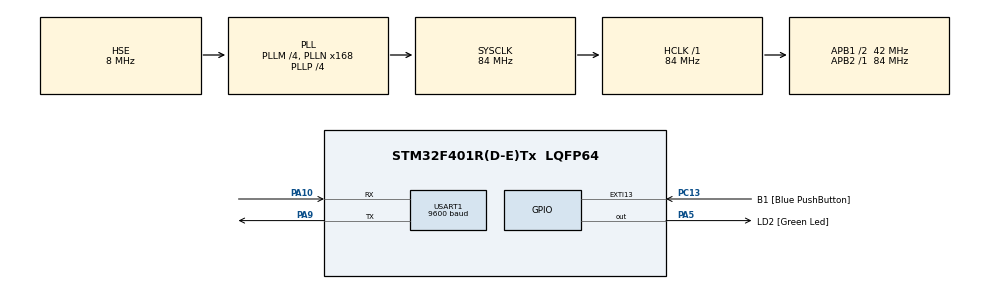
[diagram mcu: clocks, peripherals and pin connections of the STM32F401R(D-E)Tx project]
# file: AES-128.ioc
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Mcu.Family=STM32F4
Mcu.Name=STM32F401R(D-E)Tx
Mcu.Package=LQFP64
NVIC.EXTI15_10_IRQn=true\:0\:0\:false\:false\:true\:true\:true
NVIC.PriorityGroup=NVIC_PRIORITYGROUP_0
NVIC.USART1_IRQn=true\:0\:0\:false\:false\:true\:true\:true
PA10.Mode=Asynchronous
PA10.Signal=USART1_RX
PA13.GPIO_Label=TMS
PA13.Mode=Serial_Wire
PA13.Signal=SYS_JTMS-SWDIO
PA14.GPIO_Label=TCK
PA14.Mode=Serial_Wire
PA14.Signal=SYS_JTCK-SWCLK
PA2.GPIO_Label=USART_TX
PA2.GPIO_Mode=GPIO_MODE_AF_PP
PA2.GPIO_PuPd=GPIO_NOPULL
PA2.GPIO_Speed=GPIO_SPEED_FREQ_LOW
PA2.Signal=USART2_TX
PA3.GPIO_Label=USART_RX
PA3.GPIO_Mode=GPIO_MODE_AF_PP
PA3.GPIO_PuPd=GPIO_NOPULL
PA3.GPIO_Speed=GPIO_SPEED_FREQ_LOW
PA3.Signal=USART2_RX
PA5.GPIO_Label=LD2 [Green Led]
PA5.GPIO_Mode=GPIO_MODE_OUTPUT_PP
PA5.GPIO_PuPd=GPIO_NOPULL
PA5.GPIO_Speed=GPIO_SPEED_FREQ_LOW
PA5.Signal=GPIO_Output
PA9.Mode=Asynchronous
PA9.Signal=USART1_TX
PB3.GPIO_Label=SWO
PB3.Signal=SYS_JTDO-SWO
PC13-ANTI_TAMP.GPIO_Label=B1 [Blue PushButton]
PC13-ANTI_TAMP.GPIO_ModeDefaultEXTI=GPIO_MODE_IT_FALLING
PC13-ANTI_TAMP.GPIO_PuPd=GPIO_PULLUP
PC13-ANTI_TAMP.Signal=GPXTI13
PC14-OSC32_IN.Mode=LSE-External-Oscillator
PC14-OSC32_IN.Signal=RCC_OSC32_IN
PC15-OSC32_OUT.Mode=LSE-External-Oscillator
PC15-OSC32_OUT.Signal=RCC_OSC32_OUT
PH0\ -\ OSC_IN.Mode=HSE-External-Clock-Source
PH0\ -\ OSC_IN.Signal=RCC_OSC_IN
PH1\ -\ OSC_OUT.Mode=HSE-External-Clock-Source
PH1\ -\ OSC_OUT.Signal=RCC_OSC_OUT
ProjectManager.HeapSize=0x200
ProjectManager.StackSize=0x400
ProjectManager.TargetToolchain=EWARM V8
RCC.48MHZClocksFreq_Value=48000000
RCC.AHBFreq_Value=84000000
RCC.APB1CLKDivider=RCC_HCLK_DIV2
RCC.APB1Freq_Value=42000000
RCC.APB1TimFreq_Value=84000000
RCC.APB2Freq_Value=84000000
RCC.APB2TimFreq_Value=84000000
RCC.CortexFreq_Value=84000000
RCC.HCLKFreq_Value=84000000
RCC.HSE_VALUE=8000000
RCC.HSI_VALUE=16000000
RCC.PLLM=4
RCC.PLLN=168
RCC.PLLP=RCC_PLLP_DIV4
RCC.PLLQ=7
RCC.PLLSourceVirtual=RCC_PLLSOURCE_HSE
RCC.RCC_RTC_Clock_Source=RCC_RTCCLKSOURCE_LSI
RCC.SYSCLKFreq_VALUE=84000000
RCC.SYSCLKSource=RCC_SYSCLKSOURCE_PLLCLK
RCC.VCOOutputFreq_Value=336000000
USART1.BaudRate=9600
USART1.VirtualMode=VM_ASYNC
board=NUCLEO-F401RE

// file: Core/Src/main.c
/* USER CODE BEGIN Header */
/**
  ******************************************************************************
  * @file           : main.c
  * @brief          : Main program body
  ******************************************************************************
  * @attention
  *
  * <h2><center>&copy; Copyright (c) 2022 STMicroelectronics.
  * All rights reserved.</center></h2>
  *
  * This software component is licensed by ST under BSD 3-Clause license,
  * the "License"; You may not use this file except in compliance with the
  * License. You may obtain a copy of the License at:
  *                        opensource.org/licenses/BSD-3-Clause
  *
  ******************************************************************************
  */
/* USER CODE END Header */
#include "main.h"

/* USER CODE BEGIN Includes */
#include "AES.h"
/* USER CODE END Includes */

/* USER CODE BEGIN PD */
#define    DWT_CYCCNT    *(volatile uint32_t*)0xE0001004
#define    DWT_CONTROL   *(volatile uint32_t*)0xE0001000
#define    SCB_DEMCR     *(volatile uint32_t*)0xE000EDFC
/* USER CODE END PD */

UART_HandleTypeDef huart1;

/* USER CODE BEGIN PV */
uint32_t time_act = 0;
const uint8_t key[16] = {"decrypt"};
uint8_t sleep = 0;
uint8_t decrypt_test[] = {0x4a, 0x0a, 0x2b, 0xc1, 0xf6, 0x2d, 0x8c, 0x23, 0x32, 0xff, 0x11, 0xf0, 0xa7, 0x2b, 0x51, 0xce,
                          0xcc, 0x89, 0x7d, 0x82, 0x12, 0x02, 0xfc, 0x0c, 0x5c, 0xb9, 0x55, 0xd2, 0x97, 0x9b, 0xe9, 0xf2,
                          0xc1, 0xe9, 0x53, 0xf3, 0x23, 0x37, 0xc4, 0x51, 0xe1, 0x8a, 0xbe, 0xc0, 0xf5, 0x84, 0xef, 0x59};
uint16_t size_omass = sizeof(decrypt_test);
uint8_t omass[sizeof(decrypt_test)] = {0};
/* USER CODE END PV */

void SystemClock_Config(void);
static void MX_GPIO_Init(void);
static void MX_USART1_UART_Init(void);
/* USER CODE BEGIN PFP */

void time_transmit()
{
  uint8_t msg1[] = "\r\nDecrypted message: \r\n";
  uint8_t msg2[] = "\r\nExecution time: \r\n";
  uint8_t time_tr[9];
  time_tr[0] = (time_act/100000000)+0x30;
  time_tr[1] = (time_act/10000000%10)+0x30;
  time_tr[2] = (time_act/1000000%10)+0x30;
  time_tr[3] = (time_act/100000%10)+0x30;
  time_tr[4] = (time_act/10000%10)+0x30;
  time_tr[5] = (time_act/1000%10)+0x30;
  time_tr[6] = (time_act/100%10)+0x30;
  time_tr[7] = (time_act/10%10)+0x30;
  time_tr[8] = (time_act%10)+0x30;
  HAL_UART_Transmit(&huart1, msg1, sizeof(msg1)-1, 500);
  HAL_UART_Transmit(&huart1, omass, size_omass, 500);
  HAL_UART_Transmit(&huart1, msg2, sizeof(msg2)-1, 500);
  HAL_UART_Transmit(&huart1, time_tr, sizeof(time_tr), 500);
}
void decrypt(const uint8_t* block, const uint8_t* keyl, uint8_t* outmass)
{
  uint8_t mass_in[16] = {0};
  uint8_t mass_out[16] = {0};
  uint8_t *len = outmass;
  uint8_t iter = size_omass/16;
  uint8_t i = 0;
   for (uint8_t j = 0; j < iter; j++)
   {
    for (; i < 16*(j+1); i++)
    {
      mass_in[16-(((16*(j+1))-i))] = block[i];
    }
    aesDecrypt(keyl, 16, mass_in, mass_out, 16);
    for (uint8_t y = 0; y < 16; y++)
    {
      *len++ = mass_out[y];
      mass_in[y] = 0;
      mass_out[y] = 0;
    }
   }
}

void DWT_Init()
{
  SCB_DEMCR |= CoreDebug_DEMCR_TRCENA_Msk;
  DWT_CONTROL|= DWT_CTRL_CYCCNTENA_Msk;
  DWT_CYCCNT = 0;
}
/* USER CODE END PFP */

int main(void)
{

  /* MCU Configuration--------------------------------------------------------*/

  /* Reset of all peripherals, Initializes the Flash interface and the Systick. */
  HAL_Init();

  /* Configure the system clock */
  SystemClock_Config();

  /* Initialize all configured peripherals */
  MX_GPIO_Init();
  MX_USART1_UART_Init();
  /* USER CODE BEGIN 2 */
  DWT_Init();
  HAL_PWR_DisableSleepOnExit();
  HAL_PWR_EnterSTOPMode(PWR_LOWPOWERREGULATOR_ON, PWR_STOPENTRY_WFI);
  /* USER CODE END 2 */

  /* Infinite loop */
  /* USER CODE BEGIN WHILE */
  while (1)
  {
    if(sleep == 1)
    {
      sleep = 0;
      HAL_SuspendTick();
      HAL_PWR_EnterSTOPMode(PWR_LOWPOWERREGULATOR_ON, PWR_STOPENTRY_WFI);
    }
    /* USER CODE END WHILE */

  }
}

void SystemClock_Config(void)
{
  RCC_OscInitTypeDef RCC_OscInitStruct = {0};
  RCC_ClkInitTypeDef RCC_ClkInitStruct = {0};

  /** Configure the main internal regulator output voltage
  */
  __HAL_RCC_PWR_CLK_ENABLE();
  __HAL_PWR_VOLTAGESCALING_CONFIG(PWR_REGULATOR_VOLTAGE_SCALE2);
  /** Initializes the RCC Oscillators according to the specified parameters
  * in the RCC_OscInitTypeDef structure.
  */
  RCC_OscInitStruct.OscillatorType = RCC_OSCILLATORTYPE_HSE;
  RCC_OscInitStruct.HSEState = RCC_HSE_BYPASS;
  RCC_OscInitStruct.PLL.PLLState = RCC_PLL_ON;
  RCC_OscInitStruct.PLL.PLLSource = RCC_PLLSOURCE_HSE;
  RCC_OscInitStruct.PLL.PLLM = 4;
  RCC_OscInitStruct.PLL.PLLN = 168;
  RCC_OscInitStruct.PLL.PLLP = RCC_PLLP_DIV4;
  RCC_OscInitStruct.PLL.PLLQ = 7;
  if (HAL_RCC_OscConfig(&RCC_OscInitStruct) != HAL_OK)
  {
    Error_Handler();
  }
  /** Initializes the CPU, AHB and APB buses clocks
  */
  RCC_ClkInitStruct.ClockType = RCC_CLOCKTYPE_HCLK|RCC_CLOCKTYPE_SYSCLK
                              |RCC_CLOCKTYPE_PCLK1|RCC_CLOCKTYPE_PCLK2;
  RCC_ClkInitStruct.SYSCLKSource = RCC_SYSCLKSOURCE_PLLCLK;
  RCC_ClkInitStruct.AHBCLKDivider = RCC_SYSCLK_DIV1;
  RCC_ClkInitStruct.APB1CLKDivider = RCC_HCLK_DIV2;
  RCC_ClkInitStruct.APB2CLKDivider = RCC_HCLK_DIV1;

  if (HAL_RCC_ClockConfig(&RCC_ClkInitStruct, FLASH_LATENCY_2) != HAL_OK)
  {
    Error_Handler();
  }
  HAL_ResumeTick();
}

static void MX_USART1_UART_Init(void)
{

  huart1.Instance = USART1;
  huart1.Init.BaudRate = 9600;
  huart1.Init.WordLength = UART_WORDLENGTH_8B;
  huart1.Init.StopBits = UART_STOPBITS_1;
  huart1.Init.Parity = UART_PARITY_NONE;
  huart1.Init.Mode = UART_MODE_TX_RX;
  huart1.Init.HwFlowCtl = UART_HWCONTROL_NONE;
  huart1.Init.OverSampling = UART_OVERSAMPLING_16;
  if (HAL_UART_Init(&huart1) != HAL_OK)
  {
    Error_Handler();
  }

}

static void MX_GPIO_Init(void)
{
  GPIO_InitTypeDef GPIO_InitStruct = {0};

  /* GPIO Ports Clock Enable */
  __HAL_RCC_GPIOC_CLK_ENABLE();
  __HAL_RCC_GPIOH_CLK_ENABLE();
  __HAL_RCC_GPIOA_CLK_ENABLE();
  __HAL_RCC_GPIOB_CLK_ENABLE();

  /*Configure GPIO pin Output Level */
  HAL_GPIO_WritePin(LD2_GPIO_Port, LD2_Pin, GPIO_PIN_RESET);

  /*Configure GPIO pin : B1_Pin */
  GPIO_InitStruct.Pin = B1_Pin;
  GPIO_InitStruct.Mode = GPIO_MODE_IT_FALLING;
  GPIO_InitStruct.Pull = GPIO_PULLUP;
  HAL_GPIO_Init(B1_GPIO_Port, &GPIO_InitStruct);

  /*Configure GPIO pins : USART_TX_Pin USART_RX_Pin */
  GPIO_InitStruct.Pin = USART_TX_Pin|USART_RX_Pin;
  GPIO_InitStruct.Mode = GPIO_MODE_AF_PP;
  GPIO_InitStruct.Pull = GPIO_NOPULL;
  GPIO_InitStruct.Speed = GPIO_SPEED_FREQ_LOW;
  GPIO_InitStruct.Alternate = GPIO_AF7_USART2;
  HAL_GPIO_Init(GPIOA, &GPIO_InitStruct);

  /*Configure GPIO pin : LD2_Pin */
  GPIO_InitStruct.Pin = LD2_Pin;
  GPIO_InitStruct.Mode = GPIO_MODE_OUTPUT_PP;
  GPIO_InitStruct.Pull = GPIO_NOPULL;
  GPIO_InitStruct.Speed = GPIO_SPEED_FREQ_LOW;
  HAL_GPIO_Init(LD2_GPIO_Port, &GPIO_InitStruct);

  /* EXTI interrupt init*/
  HAL_NVIC_SetPriority(EXTI15_10_IRQn, 0, 0);
  HAL_NVIC_EnableIRQ(EXTI15_10_IRQn);

}

/* USER CODE BEGIN 4 */
void HAL_GPIO_EXTI_Callback(uint16_t GPIO_Pin)
{
    SystemClock_Config();
    if (GPIO_Pin == GPIO_PIN_13)
    {
      uint8_t count = 0;
      while(HAL_GPIO_ReadPin(B1_GPIO_Port, B1_Pin) == 0)
      {
        count++;
      }
      if (count > 50)
      {
        DWT_CYCCNT = 0;
        decrypt(decrypt_test, key, omass);
        time_act = DWT_CYCCNT;
        time_transmit();
      }
      else count = 0;
    }
    sleep = 1;
}
/* USER CODE END 4 */

void Error_Handler(void)
{
  __disable_irq();
  while (1)
  {
  }
}

/************************ (C) COPYRIGHT STMicroelectronics *****END OF FILE****/
